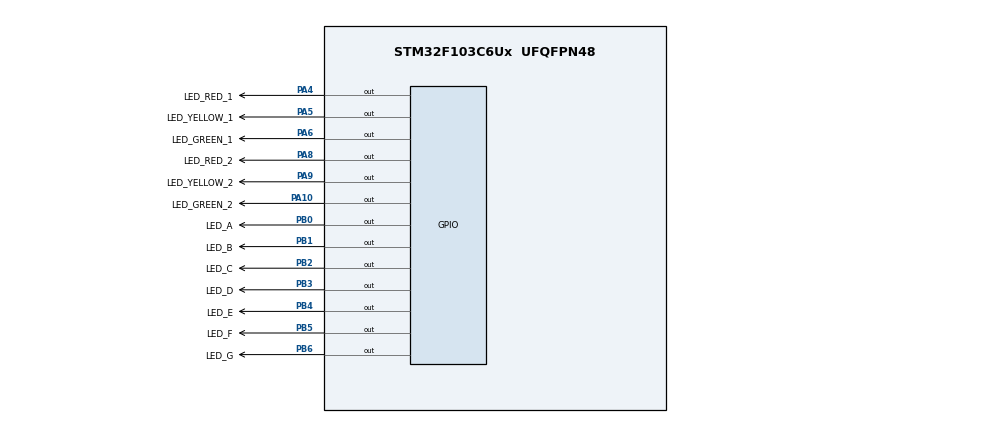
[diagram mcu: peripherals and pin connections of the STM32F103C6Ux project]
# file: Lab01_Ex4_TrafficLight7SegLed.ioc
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Mcu.Family=STM32F1
Mcu.Name=STM32F103C6Ux
Mcu.Package=UFQFPN48
NVIC.PriorityGroup=NVIC_PRIORITYGROUP_4
PA10.GPIO_Label=LED_GREEN_2
PA10.Signal=GPIO_Output
PA4.GPIO_Label=LED_RED_1
PA4.Signal=GPIO_Output
PA5.GPIO_Label=LED_YELLOW_1
PA5.Signal=GPIO_Output
PA6.GPIO_Label=LED_GREEN_1
PA6.Signal=GPIO_Output
PA8.GPIO_Label=LED_RED_2
PA8.Signal=GPIO_Output
PA9.GPIO_Label=LED_YELLOW_2
PA9.Signal=GPIO_Output
PB0.GPIO_Label=LED_A
PB0.Signal=GPIO_Output
PB1.GPIO_Label=LED_B
PB1.Signal=GPIO_Output
PB2.GPIO_Label=LED_C
PB2.Signal=GPIO_Output
PB3.GPIO_Label=LED_D
PB3.Signal=GPIO_Output
PB4.GPIO_Label=LED_E
PB4.Signal=GPIO_Output
PB5.GPIO_Label=LED_F
PB5.Signal=GPIO_Output
PB6.GPIO_Label=LED_G
PB6.Signal=GPIO_Output
ProjectManager.HeapSize=0x200
ProjectManager.StackSize=0x400
ProjectManager.TargetToolchain=STM32CubeIDE
RCC.APB1Freq_Value=8000000
RCC.APB2Freq_Value=8000000
VP_SYS_VS_ND.Mode=No_Debug
board=custom

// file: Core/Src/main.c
/* USER CODE BEGIN Header */
/**
  ******************************************************************************
  * @file           : main.c
  * @brief          : Main program body
  ******************************************************************************
  * @attention
  *
  * <h2><center>&copy; Copyright (c) 2022 STMicroelectronics.
  * All rights reserved.</center></h2>
  *
  * This software component is licensed by ST under BSD 3-Clause license,
  * the "License"; You may not use this file except in compliance with the
  * License. You may obtain a copy of the License at:
  *                        opensource.org/licenses/BSD-3-Clause
  *
  ******************************************************************************
  */
/* USER CODE END Header */
#include "main.h"

void SystemClock_Config(void);
static void MX_GPIO_Init(void);

int main(void)
{

  /* MCU Configuration--------------------------------------------------------*/

  /* Reset of all peripherals, Initializes the Flash interface and the Systick. */
  HAL_Init();

  /* Configure the system clock */
  SystemClock_Config();

  /* Initialize all configured peripherals */
  MX_GPIO_Init();
  /* USER CODE BEGIN 2 */
  int led_stat_1 = 0, led_stat_2 = 2; //0: turn GREEN on, 1: turn YELLOW on, 2: turn RED on
  int counter_1 = 0, counter_2 = 0; //(3: GREEN stays, 2: YELLOW stays, 5: RED stays) * 1s
  /* USER CODE END 2 */
  /* Infinite loop */
  while (1)
  {
	  /* USER CODE BEGIN 3 */
	  if (counter_1==0){ // Check first traffic light
		  switch(led_stat_1){
		  	  case 0:{
		  		  counter_1 = 3;
		  		  led_stat_1 = 1;
		  		  HAL_GPIO_WritePin(GPIOA, LED_GREEN_1_Pin, GPIO_PIN_RESET);
		  		  HAL_GPIO_WritePin(GPIOA, LED_YELLOW_1_Pin | LED_RED_1_Pin, GPIO_PIN_SET);
		  		  break;
		  	  }
		  	  case 1:{
		  		  counter_1 = 2;
		  		  led_stat_1 = 2;
		  		  HAL_GPIO_WritePin(GPIOA, LED_YELLOW_1_Pin, GPIO_PIN_RESET);
		  		  HAL_GPIO_WritePin(GPIOA, LED_RED_1_Pin | LED_GREEN_1_Pin, GPIO_PIN_SET);
		  		  break;
		  	  }
		  	  case 2:{
		  		  counter_1 = 5;
		  		  led_stat_1 = 0;
		  		  HAL_GPIO_WritePin(GPIOA, LED_RED_1_Pin, GPIO_PIN_RESET);
		  		  HAL_GPIO_WritePin(GPIOA, LED_GREEN_1_Pin | LED_YELLOW_1_Pin, GPIO_PIN_SET);
		  		  break;
		  	  }
		  }
	  }
	  if (counter_2==0){ // Check second traffic light
		  switch(led_stat_2){
			  case 0:{
				  counter_2 = 3;
				  led_stat_2 = 1;
				  HAL_GPIO_WritePin(GPIOA, LED_GREEN_2_Pin, GPIO_PIN_RESET);
				  HAL_GPIO_WritePin(GPIOA, LED_YELLOW_2_Pin | LED_RED_2_Pin, GPIO_PIN_SET);
				  break;
			  }
			  case 1:{
				  counter_2 = 2;
				  led_stat_2 = 2;
				  HAL_GPIO_WritePin(GPIOA, LED_YELLOW_2_Pin, GPIO_PIN_RESET);
				  HAL_GPIO_WritePin(GPIOA, LED_RED_2_Pin | LED_GREEN_2_Pin, GPIO_PIN_SET);
				  break;
			  }
			  case 2:{
				  counter_2 = 5;
				  led_stat_2 = 0;
				  HAL_GPIO_WritePin(GPIOA, LED_RED_2_Pin, GPIO_PIN_RESET);
				  HAL_GPIO_WritePin(GPIOA, LED_GREEN_2_Pin | LED_YELLOW_2_Pin, GPIO_PIN_SET);
				  break;
			  }
		  }
	  }
	  counter_1--; counter_2--;
	  HAL_Delay(1000);
  }
  /* USER CODE END 3 */
}

void SystemClock_Config(void)
{
  RCC_OscInitTypeDef RCC_OscInitStruct = {0};
  RCC_ClkInitTypeDef RCC_ClkInitStruct = {0};

  /** Initializes the RCC Oscillators according to the specified parameters
  * in the RCC_OscInitTypeDef structure.
  */
  RCC_OscInitStruct.OscillatorType = RCC_OSCILLATORTYPE_HSI;
  RCC_OscInitStruct.HSIState = RCC_HSI_ON;
  RCC_OscInitStruct.HSICalibrationValue = RCC_HSICALIBRATION_DEFAULT;
  RCC_OscInitStruct.PLL.PLLState = RCC_PLL_NONE;
  if (HAL_RCC_OscConfig(&RCC_OscInitStruct) != HAL_OK)
  {
    Error_Handler();
  }
  /** Initializes the CPU, AHB and APB buses clocks
  */
  RCC_ClkInitStruct.ClockType = RCC_CLOCKTYPE_HCLK|RCC_CLOCKTYPE_SYSCLK
                              |RCC_CLOCKTYPE_PCLK1|RCC_CLOCKTYPE_PCLK2;
  RCC_ClkInitStruct.SYSCLKSource = RCC_SYSCLKSOURCE_HSI;
  RCC_ClkInitStruct.AHBCLKDivider = RCC_SYSCLK_DIV1;
  RCC_ClkInitStruct.APB1CLKDivider = RCC_HCLK_DIV1;
  RCC_ClkInitStruct.APB2CLKDivider = RCC_HCLK_DIV1;

  if (HAL_RCC_ClockConfig(&RCC_ClkInitStruct, FLASH_LATENCY_0) != HAL_OK)
  {
    Error_Handler();
  }
}

static void MX_GPIO_Init(void)
{
  GPIO_InitTypeDef GPIO_InitStruct = {0};

  /* GPIO Ports Clock Enable */
  __HAL_RCC_GPIOA_CLK_ENABLE();

  /*Configure GPIO pin Output Level */
  HAL_GPIO_WritePin(GPIOA, LED_RED_1_Pin|LED_YELLOW_1_Pin|LED_GREEN_1_Pin|LED_RED_2_Pin
                          |LED_YELLOW_2_Pin|LED_GREEN_2_Pin, GPIO_PIN_RESET);

  /*Configure GPIO pins : LED_RED_1_Pin LED_YELLOW_1_Pin LED_GREEN_1_Pin LED_RED_2_Pin
                           LED_YELLOW_2_Pin LED_GREEN_2_Pin */
  GPIO_InitStruct.Pin = LED_RED_1_Pin|LED_YELLOW_1_Pin|LED_GREEN_1_Pin|LED_RED_2_Pin
                          |LED_YELLOW_2_Pin|LED_GREEN_2_Pin;
  GPIO_InitStruct.Mode = GPIO_MODE_OUTPUT_PP;
  GPIO_InitStruct.Pull = GPIO_NOPULL;
  GPIO_InitStruct.Speed = GPIO_SPEED_FREQ_LOW;
  HAL_GPIO_Init(GPIOA, &GPIO_InitStruct);

}

void Error_Handler(void)
{
  __disable_irq();
  while (1)
  {
  }
}

/************************ (C) COPYRIGHT STMicroelectronics *****END OF FILE****/
